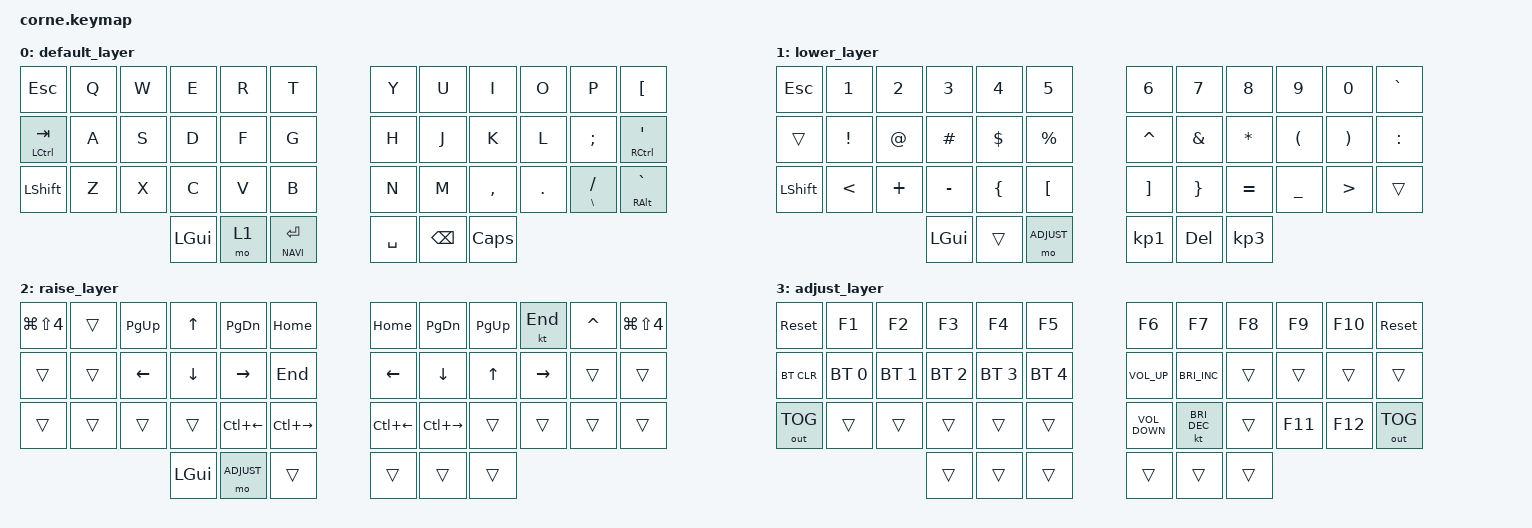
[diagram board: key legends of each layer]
/*
* Copyright (c) 2020 The ZMK Contributors
*
* SPDX-License-Identifier: MIT
* To use home rows - &hm LSHFT F
*/

#include <behaviors.dtsi>
#include <dt-bindings/zmk/bt.h>
#include <dt-bindings/zmk/keys.h>
#include <dt-bindings/zmk/outputs.h>

#define QWERTY 0
#define NUMB 1
#define NAVI 2
#define ADJUST 3

/ {
    behaviors {
        hm: homerow_mods {
            compatible = "zmk,behavior-hold-tap";
            label = "HOMEROW_MODS";
            #binding-cells = <2>;
            tapping-term-ms = <150>;
            quick_tap_ms = <0>;
            flavor = "tap-preferred";
            bindings = <&kp>, <&kp>;
        };
    };

    keymap {
        compatible = "zmk,keymap";

        default_layer {
            bindings = <
&kp ESC        &kp Q  &kp W  &kp E     &kp R  &kp T           &kp Y      &kp U     &kp I         &kp O    &kp P                &kp LEFT_BRACKET
&mt LCTRL TAB  &kp A  &kp S  &kp D     &kp F  &kp G           &kp H      &kp J     &kp K         &kp L    &kp SEMI             &mt RCTRL SINGLE_QUOTE
&kp LSHFT      &kp Z  &kp X  &kp C     &kp V  &kp B           &kp N      &kp M     &kp COMMA     &kp DOT  &mt BACKSLASH SLASH  &mt RALT GRAVE
                             &kp LGUI  &mo 1  &lt NAVI RET    &kp SPACE  &kp BSPC  &kp CAPSLOCK
            >;
        };

        lower_layer {
            bindings = <
&kp ESC    &kp N1         &kp N2    &kp N3     &kp N4          &kp N5              &kp N6             &kp N7           &kp N8        &kp N9          &kp N0            &kp GRAVE
&trans     &kp EXCL       &kp AT    &kp HASH   &kp DLLR        &kp PRCNT           &kp CARET          &kp AMPS         &kp ASTERISK  &kp LPAR        &kp RPAR          &kp COLON
&kp LSHFT  &kp LESS_THAN  &kp PLUS  &kp MINUS  &kp LEFT_BRACE  &kp LEFT_BRACKET    &kp RIGHT_BRACKET  &kp RIGHT_BRACE  &kp EQUAL     &kp UNDERSCORE  &kp GREATER_THAN  &trans
                                    &kp LGUI   &trans          &mo ADJUST          &kp KP_N1          &kp DEL          &kp KP_N3
            >;
        };

        raise_layer {
            bindings = <
&kp LG(LS(N4))  &trans  &kp PAGE_UP     &kp UP_ARROW    &kp PAGE_DOWN       &kp HOME               &kp HOME            &kp PAGE_DOWN        &kp PAGE_UP   &kt END          &kp CARET  &kp LG(LS(N4))
&trans          &trans  &kp LEFT_ARROW  &kp DOWN_ARROW  &kp RIGHT_ARROW     &kp END                &kp LEFT_ARROW      &kp DOWN_ARROW       &kp UP_ARROW  &kp RIGHT_ARROW  &trans     &trans
&trans          &trans  &trans          &trans          &kp LC(LEFT_ARROW)  &kp LC(RIGHT_ARROW)    &kp LC(LEFT_ARROW)  &kp LC(RIGHT_ARROW)  &trans        &trans           &trans     &trans
                                        &kp LGUI        &mo ADJUST          &trans                 &trans              &trans               &trans
            >;
        };

        adjust_layer {
            bindings = <
&sys_reset    &kp F1        &kp F2        &kp F3        &kp F4        &kp F5          &kp F6             &kp F7                &kp F8  &kp F9   &kp F10  &sys_reset
&bt BT_CLR    &bt BT_SEL 0  &bt BT_SEL 1  &bt BT_SEL 2  &bt BT_SEL 3  &bt BT_SEL 4    &kp C_VOLUME_UP    &kp C_BRIGHTNESS_INC  &trans  &trans   &trans   &trans
&out OUT_TOG  &trans        &trans        &trans        &trans        &trans          &kp C_VOLUME_DOWN  &kt C_BRIGHTNESS_DEC  &trans  &kp F11  &kp F12  &out OUT_TOG
                                          &trans        &trans        &trans          &trans             &trans                &trans
            >;
        };
    };
};
